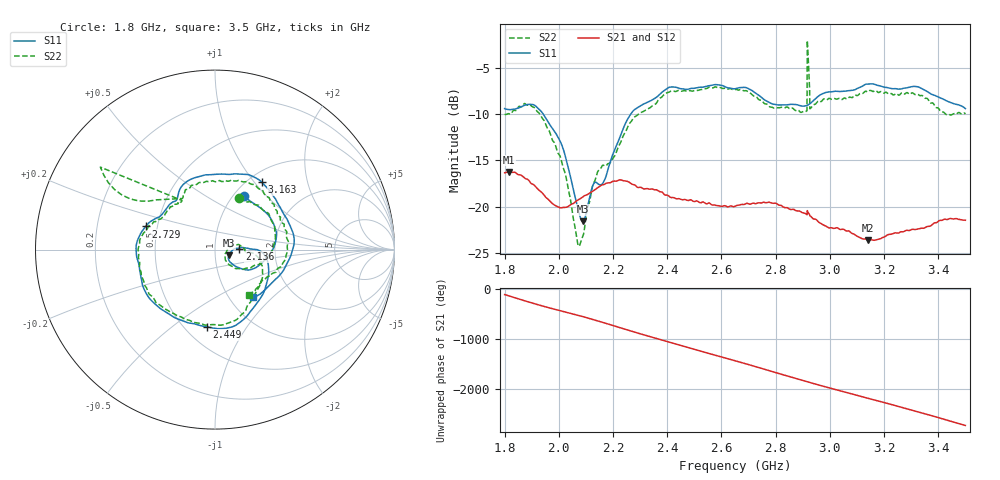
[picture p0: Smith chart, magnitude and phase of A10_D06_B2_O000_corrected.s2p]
! Created with skrf 1.9.0 (http://scikit-rf.org).
# Hz S RI R 50.0
!freq ReS11 ImS11 ReS21 ImS21 ReS12 ImS12 ReS22 ImS22
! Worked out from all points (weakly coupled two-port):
!   1601 points, 1.8 GHz to 3.5 GHz, reference 50 ohm
!   highest |S21| = -16.24 dB at 1.815 GHz (marker M1); lowest = -23.6 dB at 3.142 GHz (marker M2)
!   lowest |S11| = -21.6 dB at 2.088 GHz (marker M3), VSWR 1.18, Z = 58.2 - j3.76 ohm
!   |S11| at or under -10 dB: 1.942 GHz to 2.265 GHz (323 MHz wide, 15.4 % of centre)
!   |S22| runs from -24.2 to -2.1 dB; largest |S21 - S12| = 0.0025
!   S11 on the Smith chart (normalised r, x): 1.8 GHz: 1.12, +0.75; 2.136 GHz: 1.31, +0.01; 2.449 GHz: 0.63, -0.67; 2.729 GHz: 0.43, +0.13; 3.163 GHz: 1.15, +1.09; 3.5 GHz: 1.27, -0.76
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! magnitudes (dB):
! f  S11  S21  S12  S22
! 1.8 GHz  -9.4  -16.3  -16.3  -10.0
! 1.815 GHz  -9.5  -16.2  -16.2  -10.0
! 1.881 GHz  -9.0  -17.0  -17.0  -9.0
! 1.942 GHz  -10.0  -18.6  -18.6  -10.6
! 2.013 GHz  -13.5  -20.1  -20.1  -15.4
! 2.068 GHz  -19.9  -19.3  -19.3  -23.7
! 2.084 GHz  -21.5  -19.0  -19.0  -23.5
! 2.088 GHz  -21.6  -18.9  -18.9  -23.2
! 2.136 GHz  -17.3  -18.1  -18.1  -16.9
! 2.167 GHz  -17.2  -17.6  -17.6  -15.5
! 2.266 GHz  -10.0  -17.5  -17.5  -10.8
! 2.367 GHz  -8.0  -18.3  -18.2  -8.5
! 2.449 GHz  -7.3  -19.2  -19.2  -7.5
! 2.65 GHz  -7.3  -19.9  -19.9  -7.4
! 2.729 GHz  -7.8  -19.6  -19.7  -8.1
! 2.904 GHz  -9.2  -20.7  -20.6  -9.7
! 2.925 GHz  -8.9  -20.8  -20.8  -7.4
! 2.934 GHz  -8.7  -21.1  -21.1  -9.2
! 3.142 GHz  -6.8  -23.6  -23.5  -7.6
! 3.163 GHz  -6.8  -23.6  -23.5  -7.5
! 3.217 GHz  -7.2  -23.0  -22.9  -7.8
! 3.5 GHz  -9.4  -21.4  -21.4  -10.0
